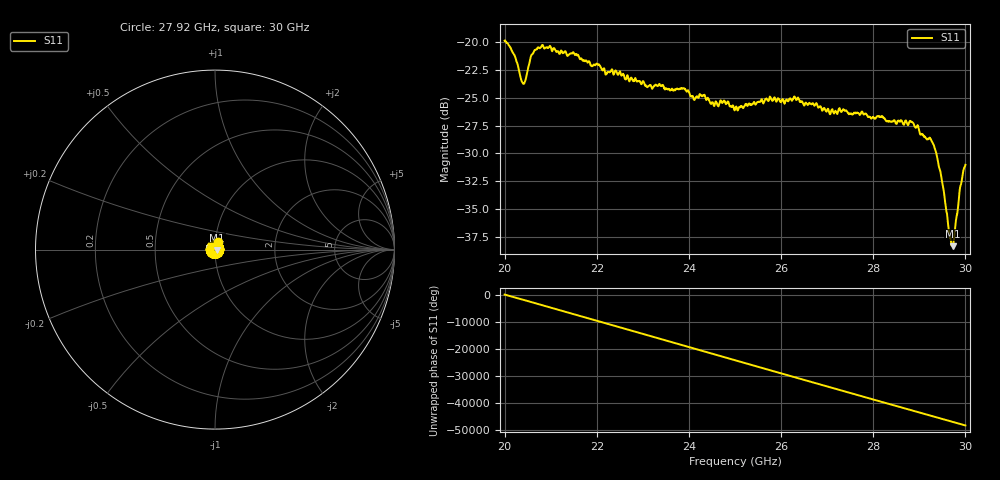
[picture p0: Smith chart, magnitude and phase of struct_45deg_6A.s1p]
#  HZ  S  RI  R  50.00
! Rohde & Schwarz ZVA40 4Ports - Version 3.90 - 1145.1110k42 SN: 100403
! Date: 2023-09-30 08:15:57
! Measurement: S12
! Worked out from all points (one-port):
!   5001 points, 20 GHz to 30 GHz, reference 50 ohm
!   lowest |S11| = -38.3 dB at 29.72 GHz (marker M1), VSWR 1.02, Z = 51.2 - j0.349 ohm
!   |S11| at or under -10 dB: start of sweep to end of sweep
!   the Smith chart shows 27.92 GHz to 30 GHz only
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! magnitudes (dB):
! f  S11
! 20 GHz  -19.9
! 20.2 GHz  -21.1
! 20.4 GHz  -23.7
! 20.45 GHz  -23.4
! 20.59 GHz  -21.1
! 20.69 GHz  -20.7
! 20.96 GHz  -20.5
! 21.25 GHz  -20.9
! 21.52 GHz  -21.1
! 22.22 GHz  -22.8
! 22.5 GHz  -22.7
! 23.09 GHz  -24.0
! 23.75 GHz  -24.2
! 24.09 GHz  -25.0
! 24.29 GHz  -24.8
! 25 GHz  -26.0
! 25.73 GHz  -25.3
! 26.25 GHz  -25.2
! 27.5 GHz  -26.5
! 28.75 GHz  -27.4
! 28.84 GHz  -27.2
! 29.32 GHz  -29.3
! 29.49 GHz  -32.5
! 29.67 GHz  -37.6
! 29.72 GHz  -38.3
! 29.77 GHz  -36.9
! 29.91 GHz  -32.6
! 30 GHz  -31.0
